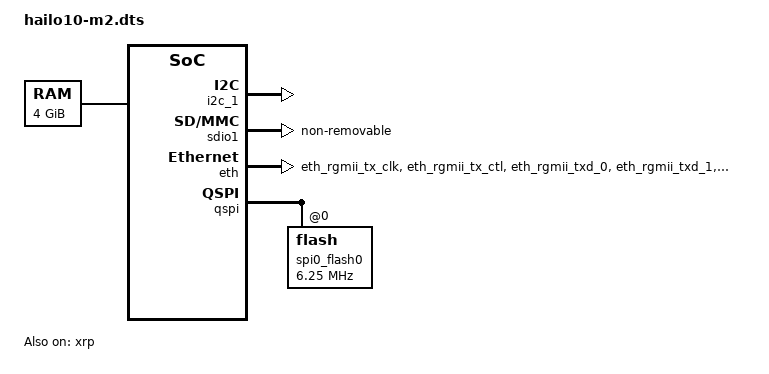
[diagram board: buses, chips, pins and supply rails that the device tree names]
// SPDX-License-Identifier:     GPL-2.0
/*
 * Copyright (c) 2019-2024 Hailo Technologies Ltd. All rights reserved.
 */

/dts-v1/;
#include "hailo10-base.dtsi"
#include <dt-bindings/gpio/gpio.h>

/ {
    memory {
        device_type = "memory";
        reg = <0x00000000 0x80000000 0x00000001 0x00000000>;
    };
};

&i2c_1 {
    status = "ok";
    ina231_3v3_pci: 3v3_pci@40 {
        status = "disabled";
        compatible = "ti,ina231_precise";
        reg = <0x40>;
        shunt-resistor = <10000>;
        max-current = <2500>;
    };

    regulator_0p8v: regulator-0p8v@43 {
        status = "disabled";
        compatible = "ti,tps62872";
        reg = <0x43>;
        regulator-name = "+0.8V";
        regulator-min-microvolt = <400000>;
        regulator-max-microvolt = <1037500>;
        regulator-initial-mode = <2>;
    };

    /* 64 KiB EEPROM  */
    eeprom: eeprom-atmel-24cs64@50 {
        status = "disabled";
        compatible = "atmel,24cs64";
        reg = <0x30>;
    };
};

&xrp {
    status = "okay";
};

&xrp_reserved {
    status = "okay";
};

&sdio1 {
    status = "okay";
    non-removable;
    phy-config {
		card-is-emmc = <0x1>;
        	cmd-pad-values = <0x2 0x2 0x1 0x1>; // txslew_ctrl_n, txslew_ctrl_p, weakpull_enable, rxsel
        	dat-pad-values = <0x2 0x2 0x1 0x1>; // txslew_ctrl_n, txslew_ctrl_p, weakpull_enable, rxsel
        	rst-pad-values = <0x2 0x2 0x1 0x1>; // txslew_ctrl_n, txslew_ctrl_p, weakpull_enable, rxsel
        	clk-pad-values = <0x2 0x2 0x0 0x0>; // txslew_ctrl_n, txslew_ctrl_p, weakpull_enable, rxsel
        	sdclkdl-cnfg = <0x0 0x32>; //extdly_en, cckdl_dc
        	drive-strength = <0xC 0xC>; //pad_sp, pad_sn
        };
};

&eth {
    status = "okay";
    pinctrl-names = "default";
    pinctrl-0 = <&pinctrl_eth>;
};

&qspi {
    status = "okay";
    spi0_flash0: flash@0 {
        /* values for MT25QU01G */
        spi-max-frequency = <6250000>; /* 90Mhz in DTR, 166Mhz in STR */
        cdns,read-delay = <7>;
        cdns,tshsl-ns = <30>;
        cdns,tsd2d-ns = <30>;
        cdns,tchsh-ns = <5>;
        cdns,tslch-ns = <3>;
    };
};

&reserved_memory {
    hailo_cma: hailo,cma {
        status = "okay";
    };

    /* set hailort0,CMA area to 0.5GiB, global ranges: 4GB -> 4.5GB, DDR ranges: 2GB -> 2.5GB)*/
    hailort_cma_0: hailort0,cma {
        status = "okay";
        compatible = "shared-dma-pool";
        reusable;
        size = <0x0 0x20000000>;
        linux,cma-hailo;
        alloc-ranges = <0x1 0x00000000 0 0x20000000>;
    };
    /* set hailort0,CMA area to 0.5GiB, global ranges: 4.5GB -> 5GB, DDR ranges: 2.5GB -> 3GB)*/
    hailort_cma_1: hailort1,cma {
        status = "okay";
        compatible = "shared-dma-pool";
        reusable;
        size = <0x0 0x20000000>;
        linux,cma-hailo;
        alloc-ranges = <0x1 0x20000000 0 0x20000000>;
    };
    /* set hailort0,CMA area to 0.5GiB, global ranges: 5GB -> 5.5GB, DDR ranges: 3GB -> 3.5GB)*/
    hailort_cma_2: hailort2,cma {
        status = "okay";
        compatible = "shared-dma-pool";
        reusable;
        size = <0x0 0x20000000>;
        linux,cma-hailo;
        alloc-ranges = <0x1 0x40000000 0 0x20000000>;
    };
    /* set hailort0,CMA area to 0.5GiB, global ranges: 5.5GB -> 6GB, DDR ranges: 3.5GB -> 4GB)*/
    hailort_cma_3: hailort3,cma {
        status = "okay";
        compatible = "shared-dma-pool";
        reusable;
        size = <0x0 0x20000000>;
        linux,cma-hailo;
        alloc-ranges = <0x1 0x60000000 0 0x20000000>;
    };
    /* set hailort0,CMA area to 0.5GiB, global ranges: 6GB -> 6.5GB, DDR ranges: 4GB -> 4.5GB)*/
    hailort_cma_4: hailort4,cma {
        status = "okay";
        compatible = "shared-dma-pool";
        reusable;
        size = <0x0 0x20000000>;
        linux,cma-hailo;
        alloc-ranges = <0x1 0x80000000 0 0x20000000>;
    };
    /* set hailort0,CMA area to 0.5GiB, global ranges: 6.5GB -> 7GB, DDR ranges: 4.5GB -> 5GB)*/
    hailort_cma_5: hailort5,cma {
        status = "okay";
        compatible = "shared-dma-pool";
        reusable;
        size = <0x0 0x20000000>;
        linux,cma-hailo;
        alloc-ranges = <0x1 0xA0000000 0 0x20000000>;
    };
    /* set hailort0,CMA area to 0.5GiB, global ranges: 7GB -> 7.5GB, DDR ranges: 5GB -> 5.5GB)*/
    hailort_cma_6: hailort6,cma {
        status = "okay";
        compatible = "shared-dma-pool";
        reusable;
        size = <0x0 0x20000000>;
        linux,cma-hailo;
        alloc-ranges = <0x1 0xC0000000 0 0x20000000>;
    };
    /* set hailort0,CMA area to 0.5GiB, global ranges: 7.5GB -> 8GB, DDR ranges: 5.5GB -> 6GB)*/
    hailort_cma_7: hailort7,cma {
        status = "okay";
        compatible = "shared-dma-pool";
        reusable;
        size = <0x0 0x20000000>;
        linux,cma-hailo;
        alloc-ranges = <0x1 0xE0000000 0 0x20000000>;
    };
    /* set hailort0,CMA area to 0.5GiB, global ranges: 8GB -> 8.5GB, DDR ranges: 6GB -> 6.5GB)*/
    hailort_cma_8: hailort8,cma {
        status = "okay";
        compatible = "shared-dma-pool";
        reusable;
        size = <0x0 0x20000000>;
        linux,cma-hailo;
        alloc-ranges = <0x2 0x00000000 0 0x20000000>;
    };
    /* set hailort0,CMA area to 0.5GiB, global ranges: 8.5GB -> 9GB, DDR ranges: 6.5GB -> 7GB)*/
    hailort_cma_9: hailort9,cma {
        status = "okay";
        compatible = "shared-dma-pool";
        reusable;
        size = <0x0 0x20000000>;
        linux,cma-hailo;
        alloc-ranges = <0x2 0x20000000 0 0x20000000>;
    };
    /* set hailort0,CMA area to 0.5GiB, global ranges: 9GB -> 9.5GB, DDR ranges: 7GB -> 7.5GB)*/
    hailort_cma_10: hailort10,cma {
        status = "okay";
        compatible = "shared-dma-pool";
        reusable;
        size = <0x0 0x20000000>;
        linux,cma-hailo;
        alloc-ranges = <0x2 0x40000000 0 0x20000000>;
    };
};

&pinctrl {

    pinctrl_eth: eth {
        pins = "eth_rgmii_tx_clk",
               "eth_rgmii_tx_ctl",
               "eth_rgmii_txd_0",
               "eth_rgmii_txd_1",
               "eth_rgmii_txd_2",
               "eth_rgmii_txd_3";
        drive-strength = <2>;
    };
};

&gpio0 {
    gpio-ranges = <&pinctrl 0 0 16>;

    gpio-line-names =
        "gpio_in_out_0",
        "gpio_in_out_1",
        "gpio_in_out_2",
        "gpio_in_out_3",
        "gpio_in_out_4",
        "boot_rom_led",
        "gpio_in_out_6",
        "gpio_in_out_7",
        "gpio_in_out_8",
        "sdio1_reset", /* Currently not connected */
        "rmii_rst_n",
        "gpio_in_out_11",
        "gpio_in_out_12",
        "gpio_in_out_13",
        "gpio_in_out_14",
        "gpio_in_out_15";
};

&gpio1 {
    gpio-ranges = <&pinctrl 0 16 16>;

    gpio-line-names =
        "gpio_in_out_16",
        "gpio_in_out_17",
        "gpio_in_out_18",
        "ina_alert_n",
        "gpio_in_out_20",
        "gpio_in_out_21",
        "gpio_in_out_22",
        "gpio_in_out_23",
        "gpio_in_out_24",
        "gpio_in_out_25",
        "gpio_in_out_26",
        "gpio_in_out_27",
        "gpio_in_out_28",
        "gpio_in_out_29",
        "gpio_in_out_30",
        "gpio_in_out_31";
};
